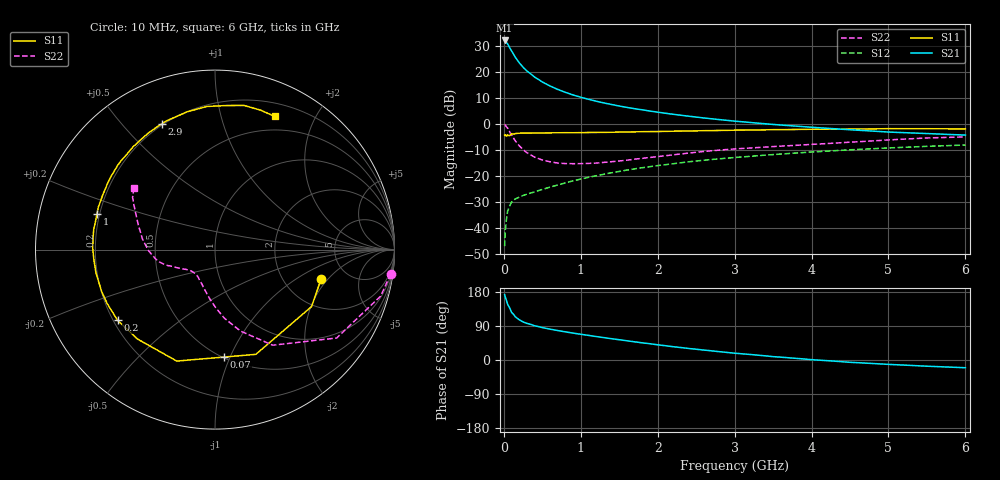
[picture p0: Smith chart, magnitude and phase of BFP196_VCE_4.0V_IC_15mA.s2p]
! Infineon Technologies  Discrete & RF Semiconductors
! BFP196
! VCE =  4.0 V,  IC =  15 mA
! Common Emitter S-Parameters:  Jan 2017
# GHz  S  MA  R  50
!  f  S11  S21  S12  S22
! GHz  MAG  ANG  MAG  ANG  MAG  ANG  MAG  ANG
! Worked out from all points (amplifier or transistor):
!   77 points, 10 MHz to 6 GHz, reference 50 ohm
!   highest |S21| = 32.2 dB at 10 MHz (marker M1)
!   |S21| within 3 dB of that: start of sweep to 80.16 MHz
!   unconditionally stable (mu >= 1): 855.6 MHz to 2.393 GHz
!   at 130 MHz: K = 0.31, MSG = 28.0 dB, |S12| = -29.2 dB
!   at 2.2 GHz: K = 1.02, MAG = 8.7 dB, |S12| = -15.2 dB
!   at 6 GHz: K = 0.93, MSG = 1.9 dB, |S12| = -8.0 dB
!   S11 on the Smith chart (normalised r, x): 10 MHz: 3.20, -1.69; 70 MHz: 0.51, -0.95; 200 MHz: 0.22, -0.31; 1 GHz: 0.19, +0.14; 2.9 GHz: 0.19, +0.65; 6 GHz: 0.34, +1.49
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0.01  0.6133 -15.6  40.76 172.6  0.0045 85.0  0.9884 -7.9
0.02  0.6249 -30.5  40.53 165.4  0.0093 79.9  0.9586 -15.7
0.05  0.6264 -68.7  34.87 146.4  0.0215 62.9  0.8382 -36.0
0.07  0.6008 -85.1  30.75 139.6  0.0254 56.2  0.7385 -43.5
0.1  0.6565 -108.9  25.69 125.7  0.0317 49.4  0.622 -58.9
0.15  0.6594 -130.9  19.25 113.9  0.0366 42.2  0.475 -72.7
0.2  0.6706 -144.0  15.19 106.2  0.0394 41.1  0.3848 -82.3
0.25  0.6718 -153.2  12.46 100.5  0.0425 40.3  0.3242 -89.2
0.3  0.6733 -159.7  10.53 96.6  0.045 41.4  0.2822 -95.1
0.4  0.6759 -169.0  8.045 90.3  0.0498 44.2  0.232 -104.1
0.5  0.6775 -175.8  6.476 85.5  0.0556 46.9  0.2046 -111.1
0.6  0.6815 179.1  5.433 81.4  0.0615 48.9  0.189 -117.3
0.7  0.6825 174.7  4.667 77.8  0.0675 51.3  0.1787 -122.1
1  0.6867 163.4  3.299 67.9  0.0878 54.1  0.174 -133.4
1.1  0.6918 160.0  3.009 65.0  0.0949 54.6  0.1761 -135.7
1.5  0.7039 147.9  2.233 53.5  0.1232 53.9  0.1958 -145.7
2.1  0.7263 131.2  1.623 37.7  0.1664 49.8  0.2473 -157.0
2.9  0.7609 112.9  1.184 20.0  0.2218 41.7  0.3253 -169.1
3.1  0.768 108.9  1.111 16.3  0.2343 39.5  0.3408 -172.6
4.1  0.7989 91.6  0.853 -0.4  0.297 28.6  0.4157 169.6
5.1  0.818 77.3  0.696 -12.5  0.3537 17.0  0.5061 152.4
6  0.8131 65.9  0.616 -20.5  0.3975 6.6  0.5691 142.6
